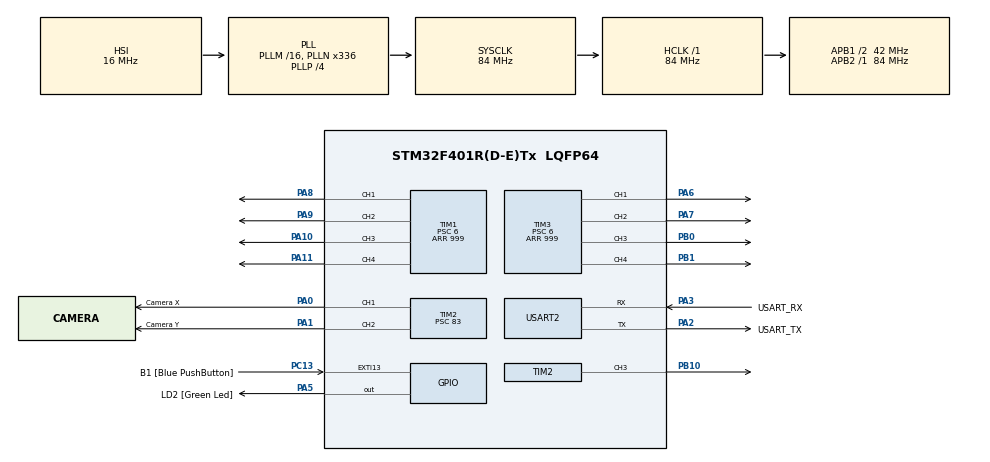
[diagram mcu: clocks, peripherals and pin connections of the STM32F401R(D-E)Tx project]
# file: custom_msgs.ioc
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Dma.Request0=USART2_RX
Dma.Request1=USART2_TX
Dma.USART2_RX.0.Direction=DMA_PERIPH_TO_MEMORY
Dma.USART2_RX.0.FIFOMode=DMA_FIFOMODE_DISABLE
Dma.USART2_RX.0.Instance=DMA1_Stream5
Dma.USART2_RX.0.MemDataAlignment=DMA_MDATAALIGN_BYTE
Dma.USART2_RX.0.MemInc=DMA_MINC_ENABLE
Dma.USART2_RX.0.Mode=DMA_CIRCULAR
Dma.USART2_RX.0.PeriphDataAlignment=DMA_PDATAALIGN_BYTE
Dma.USART2_RX.0.PeriphInc=DMA_PINC_DISABLE
Dma.USART2_RX.0.Priority=DMA_PRIORITY_VERY_HIGH
Dma.USART2_TX.1.Direction=DMA_MEMORY_TO_PERIPH
Dma.USART2_TX.1.FIFOMode=DMA_FIFOMODE_DISABLE
Dma.USART2_TX.1.Instance=DMA1_Stream6
Dma.USART2_TX.1.MemDataAlignment=DMA_MDATAALIGN_BYTE
Dma.USART2_TX.1.MemInc=DMA_MINC_ENABLE
Dma.USART2_TX.1.Mode=DMA_NORMAL
Dma.USART2_TX.1.PeriphDataAlignment=DMA_PDATAALIGN_BYTE
Dma.USART2_TX.1.PeriphInc=DMA_PINC_DISABLE
Dma.USART2_TX.1.Priority=DMA_PRIORITY_VERY_HIGH
FREERTOS.Tasks01=defaultTask,24,3000,StartDefaultTask,Default,NULL,Dynamic,NULL,NULL
Mcu.Family=STM32F4
Mcu.Name=STM32F401R(D-E)Tx
Mcu.Package=LQFP64
NVIC.DMA1_Stream5_IRQn=true\:5\:0\:false\:false\:true\:true\:false\:true\:true
NVIC.DMA1_Stream6_IRQn=true\:5\:0\:false\:false\:true\:true\:false\:true\:true
NVIC.PriorityGroup=NVIC_PRIORITYGROUP_4
NVIC.USART2_IRQn=true\:5\:0\:false\:false\:true\:true\:true\:true\:true
PA0-WKUP.GPIO_Label=Camera X
PA0-WKUP.Signal=S_TIM2_CH1_ETR
PA1.GPIO_Label=Camera Y
PA1.Signal=S_TIM2_CH2
PA10.Signal=S_TIM1_CH3
PA11.Signal=S_TIM1_CH4
PA13.GPIO_Label=TMS
PA13.Mode=Serial_Wire
PA13.Signal=SYS_JTMS-SWDIO
PA14.GPIO_Label=TCK
PA14.Mode=Serial_Wire
PA14.Signal=SYS_JTCK-SWCLK
PA2.GPIO_Label=USART_TX
PA2.GPIO_Mode=GPIO_MODE_AF_PP
PA2.GPIO_PuPd=GPIO_NOPULL
PA2.GPIO_Speed=GPIO_SPEED_FREQ_LOW
PA2.Mode=Asynchronous
PA2.Signal=USART2_TX
PA3.GPIO_Label=USART_RX
PA3.GPIO_Mode=GPIO_MODE_AF_PP
PA3.GPIO_PuPd=GPIO_NOPULL
PA3.GPIO_Speed=GPIO_SPEED_FREQ_LOW
PA3.Mode=Asynchronous
PA3.Signal=USART2_RX
PA5.GPIO_Label=LD2 [Green Led]
PA5.GPIO_Mode=GPIO_MODE_OUTPUT_PP
PA5.GPIO_PuPd=GPIO_NOPULL
PA5.GPIO_Speed=GPIO_SPEED_FREQ_LOW
PA5.Signal=GPIO_Output
PA6.Signal=S_TIM3_CH1
PA7.Signal=S_TIM3_CH2
PA8.Signal=S_TIM1_CH1
PA9.Signal=S_TIM1_CH2
PB0.Signal=S_TIM3_CH3
PB1.Signal=S_TIM3_CH4
PB10.Signal=S_TIM2_CH3
PB3.GPIO_Label=SWO
PB3.Signal=SYS_JTDO-SWO
PC13-ANTI_TAMP.GPIO_Label=B1 [Blue PushButton]
PC13-ANTI_TAMP.GPIO_ModeDefaultEXTI=GPIO_MODE_IT_FALLING
PC13-ANTI_TAMP.GPIO_PuPd=GPIO_NOPULL
PC13-ANTI_TAMP.Signal=GPXTI13
PC14-OSC32_IN.Mode=LSE-External-Oscillator
PC14-OSC32_IN.Signal=RCC_OSC32_IN
PC15-OSC32_OUT.Mode=LSE-External-Oscillator
PC15-OSC32_OUT.Signal=RCC_OSC32_OUT
PH0\ -\ OSC_IN.Mode=HSE-External-Oscillator
PH0\ -\ OSC_IN.Signal=RCC_OSC_IN
PH1\ -\ OSC_OUT.Mode=HSE-External-Oscillator
PH1\ -\ OSC_OUT.Signal=RCC_OSC_OUT
ProjectManager.HeapSize=0x200
ProjectManager.StackSize=0x400
ProjectManager.TargetToolchain=STM32CubeIDE
RCC.48MHZClocksFreq_Value=48000000
RCC.AHBFreq_Value=84000000
RCC.APB1CLKDivider=RCC_HCLK_DIV2
RCC.APB1Freq_Value=42000000
RCC.APB1TimFreq_Value=84000000
RCC.APB2Freq_Value=84000000
RCC.APB2TimFreq_Value=84000000
RCC.CortexFreq_Value=84000000
RCC.HCLKFreq_Value=84000000
RCC.HSE_VALUE=8000000
RCC.HSI_VALUE=16000000
RCC.PLLN=336
RCC.PLLP=RCC_PLLP_DIV4
RCC.PLLQ=7
RCC.SYSCLKFreq_VALUE=84000000
RCC.SYSCLKSource=RCC_SYSCLKSOURCE_PLLCLK
RCC.VCOOutputFreq_Value=336000000
SH.S_TIM1_CH1.0=TIM1_CH1,PWM Generation1 CH1
SH.S_TIM1_CH2.0=TIM1_CH2,PWM Generation2 CH2
SH.S_TIM1_CH3.0=TIM1_CH3,PWM Generation3 CH3
SH.S_TIM1_CH4.0=TIM1_CH4,PWM Generation4 CH4
SH.S_TIM2_CH1_ETR.0=TIM2_CH1,PWM Generation1 CH1
SH.S_TIM2_CH2.0=TIM2_CH2,PWM Generation2 CH2
SH.S_TIM2_CH3.0=TIM2_CH3,PWM Generation3 CH3
SH.S_TIM3_CH1.0=TIM3_CH1,PWM Generation1 CH1
SH.S_TIM3_CH2.0=TIM3_CH2,PWM Generation2 CH2
SH.S_TIM3_CH3.0=TIM3_CH3,PWM Generation3 CH3
SH.S_TIM3_CH4.0=TIM3_CH4,PWM Generation4 CH4
TIM1.Channel-PWM\ Generation1\ CH1=TIM_CHANNEL_1
TIM1.Channel-PWM\ Generation2\ CH2=TIM_CHANNEL_2
TIM1.Channel-PWM\ Generation3\ CH3=TIM_CHANNEL_3
TIM1.Channel-PWM\ Generation4\ CH4=TIM_CHANNEL_4
TIM1.Period=999
TIM1.Prescaler=6
TIM2.Channel-PWM\ Generation1\ CH1=TIM_CHANNEL_1
TIM2.Channel-PWM\ Generation2\ CH2=TIM_CHANNEL_2
TIM2.Channel-PWM\ Generation3\ CH3=TIM_CHANNEL_3
TIM2.Period=19999
TIM2.Prescaler=83
TIM3.Channel-PWM\ Generation1\ CH1=TIM_CHANNEL_1
TIM3.Channel-PWM\ Generation2\ CH2=TIM_CHANNEL_2
TIM3.Channel-PWM\ Generation3\ CH3=TIM_CHANNEL_3
TIM3.Channel-PWM\ Generation4\ CH4=TIM_CHANNEL_4
TIM3.Period=999
TIM3.Prescaler=6
USART2.VirtualMode=VM_ASYNC
VP_FREERTOS_VS_CMSIS_V2.Mode=CMSIS_V2
VP_TIM1_VS_ClockSourceINT.Mode=Internal
VP_TIM2_VS_ClockSourceINT.Mode=Internal
VP_TIM3_VS_ClockSourceINT.Mode=Internal
board=NUCLEO-F401RE

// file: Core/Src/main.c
/* USER CODE BEGIN Header */
/**
  ******************************************************************************
  * @file           : main.c
  * @brief          : Main program body
  ******************************************************************************
  * @attention
  *
  * Copyright (c) 2024  * in the root directory of this software component.
  *   * in the root di  * in the root directory of this software component.

  *
  * All rights reserved.
  *
  * This software is licensed under terms that can be found in the LICENSE file
  * in the root directory of this software component.
  * If no LICENSE file comes with this software, it is provided AS-IS.
  *
  ******************************************************************************
  */
/* USER CODE END Header */
#include "main.h"
#include "cmsis_os.h"

/* USER CODE BEGIN Includes */
#include <rcl/rcl.h>
#include <rcl/error_handling.h>
#include <rclc/rclc.h>
#include <rclc/executor.h>
#include <uxr/client/transport.h>
#include <rmw_microxrcedds_c/config.h>
#include <rmw_microros/rmw_microros.h>
#include <rover_msgs/msg/controller_msg.h>
#include <rover_msgs/msg/encoder_msg.h>
#include <math.h>

/* USER CODE END Includes */

/* USER CODE BEGIN PTD */

typedef struct joystick {
    float x;
    float y;
    int16_t throttle;
    int16_t cameray;  // İleri/Geri ekseni 1 yada -1 yada 0
    int8_t light;
    int8_t camerax;  // Sağ/Sol ekseni 1 yada -1 yada 0
    int16_t imu_speed;// -1000 ile 1000 arasında rover hızı
    uint8_t gear;
} joystick;
joystick rcjoystick = {0, 0, 0, 0, 0, 0, 0, 3};

typedef enum {
    GROUND_DEFAULT,
    GROUND_SLIPPERY,
    GROUND_ROUGH
} GroundType;

GroundType currentGround = GROUND_DEFAULT;

typedef struct {
    int16_t targetSpeed;
    int16_t currentSpeed;
    int16_t previousErrorSpeed;
    int integralSpeed;

	float KP;
	float KI;
	float KD;
	float integralLimit;
} Wheel;

Wheel leftFrontWheel = {0, 0, 0, 0, 0.67f, 0.04f, 0.01f, 1000};//1
Wheel rightFrontWheel = {0, 0, 0, 0, 0.60f, 0.04f, 0.01f, 1000};//2
Wheel leftBackWheel = {0, 0, 0, 0, 0.65f, 0.04f, 0.01f, 1000};//3
Wheel rightBackWheel = {0, 0, 0, 0, 0.65f, 0.04f, 0.01f, 1000};//4

typedef struct {
    int16_t targetDirection;
    int16_t currentDirection;
    int16_t previousErrorDirection;
    int integralDirection;
} Direction;

Direction roverDirection = {90, 0, 0, 0};
/* USER CODE END PTD */

/* USER CODE BEGIN PD */
#define DEGREE_MIN 400
#define DEGREE_MAX 2600
#define DEGREE_STEP 10

#define Direction_KP 0.4f
#define Direction_KI 0.1f
#define Direction_KD 0.03f
#define MAX_SPEED_PWM  1000
#define MIN_SPEED_PWM  -1000

// Motor hızı sınırlayıcı
#define MAX_SPEED_D  1000
#define MAX_SPEED_S  3000
#define MIN_SPEED_D  -1000
#define MAX_DIRECTION_SPEED  300
#define MIN_DIRECTION_SPEED -300

/* USER CODE END PD */

TIM_HandleTypeDef htim1;
TIM_HandleTypeDef htim2;
TIM_HandleTypeDef htim3;

UART_HandleTypeDef huart2;
DMA_HandleTypeDef hdma_usart2_rx;
DMA_HandleTypeDef hdma_usart2_tx;

/* Definitions for defaultTask */
osThreadId_t defaultTaskHandle;
const osThreadAttr_t defaultTask_attributes = {
  .name = "defaultTask",
  .stack_size = 3000 * 4,
  .priority = (osPriority_t) osPriorityNormal,
};

void SystemClock_Config(void);
static void MX_GPIO_Init(void);
static void MX_DMA_Init(void);
static void MX_USART2_UART_Init(void);
static void MX_TIM1_Init(void);
static void MX_TIM2_Init(void);
static void MX_TIM3_Init(void);
void StartDefaultTask(void *argument);

int main(void)
{

  /* MCU Configuration--------------------------------------------------------*/

  /* Reset of all peripherals, Initializes the Flash interface and the Systick. */
  HAL_Init();

  /* Configure the system clock */
  SystemClock_Config();

  /* Initialize all configured peripherals */
  MX_GPIO_Init();
  MX_DMA_Init();
  MX_USART2_UART_Init();
  MX_TIM1_Init();
  MX_TIM2_Init();
  MX_TIM3_Init();
  /* USER CODE BEGIN 2 */
  HAL_TIM_PWM_Start(&htim1, TIM_CHANNEL_1);
  HAL_TIM_PWM_Start(&htim1, TIM_CHANNEL_2);
  HAL_TIM_PWM_Start(&htim1, TIM_CHANNEL_3);
  HAL_TIM_PWM_Start(&htim1, TIM_CHANNEL_4);
  HAL_TIM_PWM_Start(&htim3, TIM_CHANNEL_1);
  HAL_TIM_PWM_Start(&htim3, TIM_CHANNEL_2);
  HAL_TIM_PWM_Start(&htim3, TIM_CHANNEL_3);
  HAL_TIM_PWM_Start(&htim3, TIM_CHANNEL_4);
  /* USER CODE END 2 */

  /* Init scheduler */
  osKernelInitialize();

  /* Create the thread(s) */
  /* creation of defaultTask */
  defaultTaskHandle = osThreadNew(StartDefaultTask, NULL, &defaultTask_attributes);

  /* Start scheduler */
  osKernelStart();

  /* We should never get here as control is now taken by the scheduler */

  /* Infinite loop */
  while (1)
  {

  }
}

void SystemClock_Config(void)
{
  RCC_OscInitTypeDef RCC_OscInitStruct = {0};
  RCC_ClkInitTypeDef RCC_ClkInitStruct = {0};

  /** Configure the main internal regulator output voltage
  */
  __HAL_RCC_PWR_CLK_ENABLE();
  __HAL_PWR_VOLTAGESCALING_CONFIG(PWR_REGULATOR_VOLTAGE_SCALE2);

  /** Initializes the RCC Oscillators according to the specified parameters
  * in the RCC_OscInitTypeDef structure.
  */
  RCC_OscInitStruct.OscillatorType = RCC_OSCILLATORTYPE_HSI;
  RCC_OscInitStruct.HSIState = RCC_HSI_ON;
  RCC_OscInitStruct.HSICalibrationValue = RCC_HSICALIBRATION_DEFAULT;
  RCC_OscInitStruct.PLL.PLLState = RCC_PLL_ON;
  RCC_OscInitStruct.PLL.PLLSource = RCC_PLLSOURCE_HSI;
  RCC_OscInitStruct.PLL.PLLM = 16;
  RCC_OscInitStruct.PLL.PLLN = 336;
  RCC_OscInitStruct.PLL.PLLP = RCC_PLLP_DIV4;
  RCC_OscInitStruct.PLL.PLLQ = 7;
  if (HAL_RCC_OscConfig(&RCC_OscInitStruct) != HAL_OK)
  {
    Error_Handler();
  }

  /** Initializes the CPU, AHB and APB buses clocks
  */
  RCC_ClkInitStruct.ClockType = RCC_CLOCKTYPE_HCLK|RCC_CLOCKTYPE_SYSCLK
                              |RCC_CLOCKTYPE_PCLK1|RCC_CLOCKTYPE_PCLK2;
  RCC_ClkInitStruct.SYSCLKSource = RCC_SYSCLKSOURCE_PLLCLK;
  RCC_ClkInitStruct.AHBCLKDivider = RCC_SYSCLK_DIV1;
  RCC_ClkInitStruct.APB1CLKDivider = RCC_HCLK_DIV2;
  RCC_ClkInitStruct.APB2CLKDivider = RCC_HCLK_DIV1;

  if (HAL_RCC_ClockConfig(&RCC_ClkInitStruct, FLASH_LATENCY_2) != HAL_OK)
  {
    Error_Handler();
  }
}

static void MX_TIM1_Init(void)
{

  TIM_ClockConfigTypeDef sClockSourceConfig = {0};
  TIM_MasterConfigTypeDef sMasterConfig = {0};
  TIM_OC_InitTypeDef sConfigOC = {0};
  TIM_BreakDeadTimeConfigTypeDef sBreakDeadTimeConfig = {0};

  htim1.Instance = TIM1;
  htim1.Init.Prescaler = 6;
  htim1.Init.CounterMode = TIM_COUNTERMODE_UP;
  htim1.Init.Period = 999;
  htim1.Init.ClockDivision = TIM_CLOCKDIVISION_DIV1;
  htim1.Init.RepetitionCounter = 0;
  htim1.Init.AutoReloadPreload = TIM_AUTORELOAD_PRELOAD_DISABLE;
  if (HAL_TIM_Base_Init(&htim1) != HAL_OK)
  {
    Error_Handler();
  }
  sClockSourceConfig.ClockSource = TIM_CLOCKSOURCE_INTERNAL;
  if (HAL_TIM_ConfigClockSource(&htim1, &sClockSourceConfig) != HAL_OK)
  {
    Error_Handler();
  }
  if (HAL_TIM_PWM_Init(&htim1) != HAL_OK)
  {
    Error_Handler();
  }
  sMasterConfig.MasterOutputTrigger = TIM_TRGO_RESET;
  sMasterConfig.MasterSlaveMode = TIM_MASTERSLAVEMODE_DISABLE;
  if (HAL_TIMEx_MasterConfigSynchronization(&htim1, &sMasterConfig) != HAL_OK)
  {
    Error_Handler();
  }
  sConfigOC.OCMode = TIM_OCMODE_PWM1;
  sConfigOC.Pulse = 0;
  sConfigOC.OCPolarity = TIM_OCPOLARITY_HIGH;
  sConfigOC.OCNPolarity = TIM_OCNPOLARITY_HIGH;
  sConfigOC.OCFastMode = TIM_OCFAST_DISABLE;
  sConfigOC.OCIdleState = TIM_OCIDLESTATE_RESET;
  sConfigOC.OCNIdleState = TIM_OCNIDLESTATE_RESET;
  if (HAL_TIM_PWM_ConfigChannel(&htim1, &sConfigOC, TIM_CHANNEL_1) != HAL_OK)
  {
    Error_Handler();
  }
  if (HAL_TIM_PWM_ConfigChannel(&htim1, &sConfigOC, TIM_CHANNEL_2) != HAL_OK)
  {
    Error_Handler();
  }
  if (HAL_TIM_PWM_ConfigChannel(&htim1, &sConfigOC, TIM_CHANNEL_3) != HAL_OK)
  {
    Error_Handler();
  }
  if (HAL_TIM_PWM_ConfigChannel(&htim1, &sConfigOC, TIM_CHANNEL_4) != HAL_OK)
  {
    Error_Handler();
  }
  sBreakDeadTimeConfig.OffStateRunMode = TIM_OSSR_DISABLE;
  sBreakDeadTimeConfig.OffStateIDLEMode = TIM_OSSI_DISABLE;
  sBreakDeadTimeConfig.LockLevel = TIM_LOCKLEVEL_OFF;
  sBreakDeadTimeConfig.DeadTime = 0;
  sBreakDeadTimeConfig.BreakState = TIM_BREAK_DISABLE;
  sBreakDeadTimeConfig.BreakPolarity = TIM_BREAKPOLARITY_HIGH;
  sBreakDeadTimeConfig.AutomaticOutput = TIM_AUTOMATICOUTPUT_DISABLE;
  if (HAL_TIMEx_ConfigBreakDeadTime(&htim1, &sBreakDeadTimeConfig) != HAL_OK)
  {
    Error_Handler();
  }
  /* USER CODE BEGIN TIM1_Init 2 */
  HAL_TIM_PWM_Start(&htim1, TIM_CHANNEL_1);
  HAL_TIM_PWM_Start(&htim1, TIM_CHANNEL_2);
  HAL_TIM_PWM_Start(&htim1, TIM_CHANNEL_3);
  HAL_TIM_PWM_Start(&htim1, TIM_CHANNEL_4);
  /* USER CODE END TIM1_Init 2 */
  HAL_TIM_MspPostInit(&htim1);

}

static void MX_TIM2_Init(void)
{

  TIM_ClockConfigTypeDef sClockSourceConfig = {0};
  TIM_MasterConfigTypeDef sMasterConfig = {0};
  TIM_OC_InitTypeDef sConfigOC = {0};

  htim2.Instance = TIM2;
  htim2.Init.Prescaler = 83;
  htim2.Init.CounterMode = TIM_COUNTERMODE_UP;
  htim2.Init.Period = 19999;
  htim2.Init.ClockDivision = TIM_CLOCKDIVISION_DIV1;
  htim2.Init.AutoReloadPreload = TIM_AUTORELOAD_PRELOAD_DISABLE;
  if (HAL_TIM_Base_Init(&htim2) != HAL_OK)
  {
    Error_Handler();
  }
  sClockSourceConfig.ClockSource = TIM_CLOCKSOURCE_INTERNAL;
  if (HAL_TIM_ConfigClockSource(&htim2, &sClockSourceConfig) != HAL_OK)
  {
    Error_Handler();
  }
  if (HAL_TIM_PWM_Init(&htim2) != HAL_OK)
  {
    Error_Handler();
  }
  sMasterConfig.MasterOutputTrigger = TIM_TRGO_RESET;
  sMasterConfig.MasterSlaveMode = TIM_MASTERSLAVEMODE_DISABLE;
  if (HAL_TIMEx_MasterConfigSynchronization(&htim2, &sMasterConfig) != HAL_OK)
  {
    Error_Handler();
  }
  sConfigOC.OCMode = TIM_OCMODE_PWM1;
  sConfigOC.Pulse = 0;
  sConfigOC.OCPolarity = TIM_OCPOLARITY_HIGH;
  sConfigOC.OCFastMode = TIM_OCFAST_DISABLE;
  if (HAL_TIM_PWM_ConfigChannel(&htim2, &sConfigOC, TIM_CHANNEL_1) != HAL_OK)
  {
    Error_Handler();
  }
  if (HAL_TIM_PWM_ConfigChannel(&htim2, &sConfigOC, TIM_CHANNEL_2) != HAL_OK)
  {
    Error_Handler();
  }
  if (HAL_TIM_PWM_ConfigChannel(&htim2, &sConfigOC, TIM_CHANNEL_3) != HAL_OK)
  {
    Error_Handler();
  }
  /* USER CODE BEGIN TIM2_Init 2 */
  HAL_TIM_PWM_Start(&htim2, TIM_CHANNEL_1);
  HAL_TIM_PWM_Start(&htim2, TIM_CHANNEL_2);

  /* USER CODE END TIM2_Init 2 */
  HAL_TIM_MspPostInit(&htim2);

}

static void MX_TIM3_Init(void)
{

  TIM_ClockConfigTypeDef sClockSourceConfig = {0};
  TIM_MasterConfigTypeDef sMasterConfig = {0};
  TIM_OC_InitTypeDef sConfigOC = {0};

  htim3.Instance = TIM3;
  htim3.Init.Prescaler = 6;
  htim3.Init.CounterMode = TIM_COUNTERMODE_UP;
  htim3.Init.Period = 999;
  htim3.Init.ClockDivision = TIM_CLOCKDIVISION_DIV1;
  htim3.Init.AutoReloadPreload = TIM_AUTORELOAD_PRELOAD_DISABLE;
  if (HAL_TIM_Base_Init(&htim3) != HAL_OK)
  {
    Error_Handler();
  }
  sClockSourceConfig.ClockSource = TIM_CLOCKSOURCE_INTERNAL;
  if (HAL_TIM_ConfigClockSource(&htim3, &sClockSourceConfig) != HAL_OK)
  {
    Error_Handler();
  }
  if (HAL_TIM_PWM_Init(&htim3) != HAL_OK)
  {
    Error_Handler();
  }
  sMasterConfig.MasterOutputTrigger = TIM_TRGO_RESET;
  sMasterConfig.MasterSlaveMode = TIM_MASTERSLAVEMODE_DISABLE;
  if (HAL_TIMEx_MasterConfigSynchronization(&htim3, &sMasterConfig) != HAL_OK)
  {
    Error_Handler();
  }
  sConfigOC.OCMode = TIM_OCMODE_PWM1;
  sConfigOC.Pulse = 0;
  sConfigOC.OCPolarity = TIM_OCPOLARITY_HIGH;
  sConfigOC.OCFastMode = TIM_OCFAST_DISABLE;
  if (HAL_TIM_PWM_ConfigChannel(&htim3, &sConfigOC, TIM_CHANNEL_1) != HAL_OK)
  {
    Error_Handler();
  }
  if (HAL_TIM_PWM_ConfigChannel(&htim3, &sConfigOC, TIM_CHANNEL_2) != HAL_OK)
  {
    Error_Handler();
  }
  if (HAL_TIM_PWM_ConfigChannel(&htim3, &sConfigOC, TIM_CHANNEL_3) != HAL_OK)
  {
    Error_Handler();
  }
  if (HAL_TIM_PWM_ConfigChannel(&htim3, &sConfigOC, TIM_CHANNEL_4) != HAL_OK)
  {
    Error_Handler();
  }
  HAL_TIM_MspPostInit(&htim3);

}

static void MX_USART2_UART_Init(void)
{

  huart2.Instance = USART2;
  huart2.Init.BaudRate = 115200;
  huart2.Init.WordLength = UART_WORDLENGTH_8B;
  huart2.Init.StopBits = UART_STOPBITS_1;
  huart2.Init.Parity = UART_PARITY_NONE;
  huart2.Init.Mode = UART_MODE_TX_RX;
  huart2.Init.HwFlowCtl = UART_HWCONTROL_NONE;
  huart2.Init.OverSampling = UART_OVERSAMPLING_16;
  if (HAL_UART_Init(&huart2) != HAL_OK)
  {
    Error_Handler();
  }

}

static void MX_DMA_Init(void)
{

  /* DMA controller clock enable */
  __HAL_RCC_DMA1_CLK_ENABLE();

  /* DMA interrupt init */
  /* DMA1_Stream5_IRQn interrupt configuration */
  HAL_NVIC_SetPriority(DMA1_Stream5_IRQn, 5, 0);
  HAL_NVIC_EnableIRQ(DMA1_Stream5_IRQn);
  /* DMA1_Stream6_IRQn interrupt configuration */
  HAL_NVIC_SetPriority(DMA1_Stream6_IRQn, 5, 0);
  HAL_NVIC_EnableIRQ(DMA1_Stream6_IRQn);

}

static void MX_GPIO_Init(void)
{
  GPIO_InitTypeDef GPIO_InitStruct = {0};

  /* GPIO Ports Clock Enable */
  __HAL_RCC_GPIOC_CLK_ENABLE();
  __HAL_RCC_GPIOH_CLK_ENABLE();
  __HAL_RCC_GPIOA_CLK_ENABLE();
  __HAL_RCC_GPIOB_CLK_ENABLE();

  /*Configure GPIO pin Output Level */
  HAL_GPIO_WritePin(LD2_GPIO_Port, LD2_Pin, GPIO_PIN_RESET);

  /*Configure GPIO pin : B1_Pin */
  GPIO_InitStruct.Pin = B1_Pin;
  GPIO_InitStruct.Mode = GPIO_MODE_IT_FALLING;
  GPIO_InitStruct.Pull = GPIO_NOPULL;
  HAL_GPIO_Init(B1_GPIO_Port, &GPIO_InitStruct);

  /*Configure GPIO pin : LD2_Pin */
  GPIO_InitStruct.Pin = LD2_Pin;
  GPIO_InitStruct.Mode = GPIO_MODE_OUTPUT_PP;
  GPIO_InitStruct.Pull = GPIO_NOPULL;
  GPIO_InitStruct.Speed = GPIO_SPEED_FREQ_LOW;
  HAL_GPIO_Init(LD2_GPIO_Port, &GPIO_InitStruct);

}

/* USER CODE BEGIN 4 */
bool cubemx_transport_open(struct uxrCustomTransport * transport);
bool cubemx_transport_close(struct uxrCustomTransport * transport);
size_t cubemx_transport_write(struct uxrCustomTransport* transport, const uint8_t * buf, size_t len, uint8_t * err);
size_t cubemx_transport_read(struct uxrCustomTransport* transport, uint8_t* buf, size_t len, int timeout, uint8_t* err);

void * microros_allocate(size_t size, void * state);
void microros_deallocate(void * pointer, void * state);
void * microros_reallocate(void * pointer, size_t size, void * state);
void * microros_zero_allocate(size_t number_of_elements, size_t size_of_element, void * state);

//<<<<<<<<<<<<<<<<<<<<<<<<<<<<<<<<<<<<<<<<<<<<MESAJ ALMA>>>>>>>>>>>>>>>>>>>>>>>>>>>>>>>>>>>>>>>>>>>>>>>>>>>>>>>>>>>>>>>>
//----------------------------------------------------------------------------------------------------------------------

rcl_node_t nodesub;
rcl_subscription_t subscriber;
rcl_subscription_t subscriber2;
int16_t rotation_speedL = 0;/*300 ile -300 arasında olsun*/
int16_t rotation_speedR = 0;/*300 ile -300 arasında olsun*/
int dt;
volatile uint32_t last_heartbeat_time = 0,heartbeat_time = 0,last_message_time;
bool connection_lost = false;

//<<<<<<<<<<<<<<<<<<<<<<<<<<<<<<<<<<<<<<<<<<<< CAMERA KONTROL >>>>>>>>>>>>>>>>>>>>>>>>>>>>>>>>>>>>>>>>>>>>>>>>>>>>>>>>>>>
//--------------------------------------------------------------------------------------------------------------------
void SetServoPosition(TIM_HandleTypeDef* htim, uint32_t channel, uint16_t* position, uint8_t step, uint8_t servoDirection, uint16_t camera) {
    if (servoDirection > 0) {
        *position = (*position + step <= DEGREE_MAX) ? *position + step : DEGREE_MAX;
    }
    	else if (servoDirection < 0) {
        *position = (*position - step >= DEGREE_MIN) ? *position - step : DEGREE_MIN;
    }
    	else if (servoDirection == 0) {
    	*position = (camera > DEGREE_MAX) ? DEGREE_MAX : (camera < DEGREE_MIN) ? DEGREE_MIN : camera;
    }

    __HAL_TIM_SET_COMPARE(htim, channel, *position);
}

void KameraKontrol()
{
    static uint16_t degreey = 2200;
    static uint16_t degreex = 1500;

    degreex = (degreex > DEGREE_MAX) ? DEGREE_MAX : (degreex < DEGREE_MIN) ? DEGREE_MIN : degreex;
    degreey = (degreey > DEGREE_MAX) ? DEGREE_MAX : (degreey < DEGREE_MIN) ? DEGREE_MIN : degreey;

    		SetServoPosition(&htim2, TIM_CHANNEL_2, &degreey, DEGREE_STEP, 0, rcjoystick.cameray);

    switch (rcjoystick.camerax)
    {
    	case 0: // Dur
    		__HAL_TIM_SET_COMPARE(&htim2, TIM_CHANNEL_1, degreex);
    		HAL_GPIO_WritePin(GPIOA, GPIO_PIN_5, 1);
    		break;

        case 1: // Sağa
            SetServoPosition(&htim2, TIM_CHANNEL_1, &degreex, DEGREE_STEP, 1, rcjoystick.camerax);
            break;

        case -1: // Sola
            SetServoPosition(&htim2, TIM_CHANNEL_1, &degreex, DEGREE_STEP, -1, rcjoystick.camerax);
            break;

        default:
            // Geçersiz joystick z değeri
            break;
    }
}

//<<<<<<<<<<<<<<<<<<<<<<<<<<<<<<<<<<<<<<<<<<<< MOTOR KONTROL >>>>>>>>>>>>>>>>>>>>>>>>>>>>>>>>>>>>>>>>>>>>>>>>>>>>>>>>>>>
//--------------------------------------------------------------------------------------------------------------------
/* --- Hız-PWM Uyumluluğu --- */
int16_t speedToPWM(int16_t speed, int16_t max_speed) {
    return speed;
}

/* --- PWM Ayarı --- */
void setPWM(TIM_HandleTypeDef *htim1, TIM_HandleTypeDef *htim3, uint32_t channel, int16_t pwmvalue) {

	if (pwmvalue >= 0 && pwmvalue <= 1000) {
        __HAL_TIM_SET_COMPARE(htim1, channel, fabs(pwmvalue));
        __HAL_TIM_SET_COMPARE(htim3, channel, 0);
    }

    else if(pwmvalue >= -1000 && pwmvalue < 0 ) {
        __HAL_TIM_SET_COMPARE(htim1, channel, 0);
        __HAL_TIM_SET_COMPARE(htim3, channel, fabs(pwmvalue));
    }

    else if(pwmvalue > 1000 ) {
        __HAL_TIM_SET_COMPARE(htim1, channel, 1000);
        __HAL_TIM_SET_COMPARE(htim3, channel, 0);
    }

    else if(pwmvalue < -1000 ) {
        __HAL_TIM_SET_COMPARE(htim1, channel, 0);
        __HAL_TIM_SET_COMPARE(htim3, channel, 1000);
    }

    else {

    }
}

/* --- PID Hesaplama --- */
float calculatePID(Wheel *wheel, int max_pwm, int min_pwm, int dt) {

	float error = wheel->targetSpeed-wheel->currentSpeed;
    wheel->integralSpeed += error / dt;
    if (wheel->integralSpeed > wheel->integralLimit) wheel->integralSpeed = max_pwm / wheel->KP;  // Anti-windup
    if (wheel->integralSpeed < -wheel->integralLimit) wheel->integralSpeed = min_pwm / wheel->KP;  // Anti-windup

    float derivative = (error - wheel->previousErrorSpeed) * dt;
    wheel->previousErrorSpeed = error;

    float output = wheel->KP * error + wheel->KI * wheel->integralSpeed + wheel->KD * derivative;

    if (output > max_pwm) output = max_pwm;
    if (output < min_pwm) output = min_pwm;

    return output;
}

/* --- Hız Sınırlandırma --- */
int16_t limitSpeedToPWM(int16_t speed, GroundType groundType, int16_t max_speed) {

	if(rcjoystick.light==1){
		speed=speed*(MAX_SPEED_S/1000);
		if (speed > MAX_SPEED_S) {speed = MAX_SPEED_S;}/*rgb yak*/
	}/*rgb yak*/

	else{
		if (speed > max_speed) {speed = max_speed;}/*rgb yak*/
	}

	if (speed < MIN_SPEED_D) {speed = MIN_SPEED_D;}/*rgb yak*/

	if (speed < MIN_SPEED_D) {speed = MIN_SPEED_D;}/*rgb yak*/

	switch (groundType) {
        case GROUND_SLIPPERY:
            return speedToPWM(speed, max_speed)*0.5f; // Kaygan zemin: %50 hız
        case GROUND_ROUGH:
            return speedToPWM(speed, max_speed)*0.8f; // Engebeli zemin: %80 hız
        default:
            return speedToPWM(speed, max_speed);        // Normal zemin: Tam hız
		}
}

uint64_t now;
/* --- Tekerlek Kontrolü --- */
void controlWheel(TIM_HandleTypeDef *htim1, TIM_HandleTypeDef *htim3, uint32_t channel, Wheel *wheel) {

	now = HAL_GetTick();
	dt = now - last_heartbeat_time;

	int16_t pwmValue = calculatePID(wheel, MAX_SPEED_PWM, MIN_SPEED_PWM, dt);
	last_heartbeat_time = HAL_GetTick();
	setPWM(htim1, htim3, channel, pwmValue);

}

/* --- Yon Kontrolü --- */
void controlDirection(int16_t Y, int16_t X, Direction *direction, int16_t *rotation_speedL, int16_t *rotation_speedR, uint8_t Gear){

	/*direction->targetDirection = atan2(Y,X) * (180 / M_PI) + 180;

    int16_t error = 	direction->targetDirection - direction->currentDirection;
    while (error > 180) error -= 360;
    while (error < -180) error += 360;

    direction->integralDirection += error;
    int16_t derivative = (error - direction->previousErrorDirection);
    direction->previousErrorDirection = error;

    int16_t output = Direction_KP * error + Direction_KI * direction->integralDirection + Direction_KD * derivative;*/

    int16_t output = X;
    if (output > MAX_DIRECTION_SPEED) output = MAX_DIRECTION_SPEED;
    if (output < MIN_DIRECTION_SPEED) output = MIN_DIRECTION_SPEED;

		*rotation_speedL=-output;
		*rotation_speedR=output;

}

/* --- Rover Kontrol Fonksiyonu --- */
void controlRover(TIM_HandleTypeDef *htim1,TIM_HandleTypeDef *htim3 , int16_t rotation_speedL, int16_t rotation_speedR, uint16_t throttle) {

	    leftFrontWheel.targetSpeed  = (limitSpeedToPWM(throttle+rotation_speedL , currentGround, MAX_SPEED_D));
	    leftBackWheel.targetSpeed   = (limitSpeedToPWM(throttle+rotation_speedL , currentGround, MAX_SPEED_D));
	    rightFrontWheel.targetSpeed = (limitSpeedToPWM(throttle+rotation_speedR , currentGround, MAX_SPEED_D));
	    rightBackWheel.targetSpeed  = (limitSpeedToPWM(throttle+rotation_speedR , currentGround, MAX_SPEED_D));

	    controlWheel(htim1, htim3, TIM_CHANNEL_1, &leftFrontWheel);
	    controlWheel(htim1, htim3, TIM_CHANNEL_2, &rightFrontWheel);
	    controlWheel(htim1, htim3, TIM_CHANNEL_3, &leftBackWheel);
	    controlWheel(htim1, htim3, TIM_CHANNEL_4, &rightBackWheel);

}

void subscription_callback_encoder(const void * msgin)
{
	const rover_msgs__msg__EncoderMsg * incoming_msg = (const rover_msgs__msg__EncoderMsg *)msgin;

	leftFrontWheel.currentSpeed = incoming_msg->m1*2.6f ;
	rightFrontWheel.currentSpeed = incoming_msg->m2*2.6f;
	leftBackWheel.currentSpeed = incoming_msg->m3*2.6f;
	rightBackWheel.currentSpeed = incoming_msg->m4*2.6f;

}

void subscription_callback_controller(const void * msgin){

	// Cast received message to used type
	const rover_msgs__msg__ControllerMsg * incoming_msg = (const rover_msgs__msg__ControllerMsg *)msgin;
	HAL_GPIO_WritePin(GPIOA, GPIO_PIN_5, 1);
    //en son alinan mesajin kacinci saniyede alindigini tut
	last_message_time = HAL_GetTick();

	HAL_GPIO_WritePin(GPIOA, GPIO_PIN_5, 1);
	rcjoystick.x = (int)incoming_msg->x;
	rcjoystick.y = (int)incoming_msg->y;
	rcjoystick.throttle = (int)incoming_msg->throttle;
	rcjoystick.camerax = (int)incoming_msg->camerax;
	rcjoystick.cameray = (int)incoming_msg->cameray;
	rcjoystick.light = (uint8_t)incoming_msg->light;
	rcjoystick.gear = incoming_msg->gear;
	roverDirection.currentDirection = incoming_msg->yaw;

    // Rover'ı kontrol et
    controlDirection(rcjoystick.y, rcjoystick.x, &roverDirection, &rotation_speedL, &rotation_speedR, rcjoystick.gear);
    controlRover(&htim1, &htim3, rotation_speedL, rotation_speedR, rcjoystick.throttle);
    KameraKontrol();
}

/* USER CODE END 4 */

void StartDefaultTask(void *argument)
{
  /* USER CODE BEGIN 5 */
	  // micro-ROS configuration
	  rmw_uros_set_custom_transport(
	    true,
	    (void *) &huart2,
	    cubemx_transport_open,
	    cubemx_transport_close,
	    cubemx_transport_write,
	    cubemx_transport_read);

	  rcl_allocator_t freeRTOS_allocator = rcutils_get_zero_initialized_allocator();
	  freeRTOS_allocator.allocate = microros_allocate;
	  freeRTOS_allocator.deallocate = microros_deallocate;
	  freeRTOS_allocator.reallocate = microros_reallocate;
	  freeRTOS_allocator.zero_allocate =  microros_zero_allocate;

	      rover_msgs__msg__ControllerMsg submsg;
	      rover_msgs__msg__EncoderMsg encodermsg;
	      rclc_support_t support;
	      rclc_executor_t executor;
	      rcl_allocator_t allocator;

	      allocator = rcl_get_default_allocator();

	      	    // create init_options
	      rclc_support_init(&support, 0, NULL, &allocator);

	      	    // create node
	      rclc_node_init_default(&nodesub, "sub_node", "", &support);
	      rclc_executor_init(&executor, &support.context, 2, &allocator);

	      	    // create subscription
	      rclc_subscription_init_default(
	      	        &subscriber,
	      	        &nodesub,
	      	        ROSIDL_GET_MSG_TYPE_SUPPORT(rover_msgs, msg, ControllerMsg),
	      	        "joystick_cmd");

	      rclc_subscription_init_default(
	      	      	        &subscriber2,
	      	      	        &nodesub,
	      	      	        ROSIDL_GET_MSG_TYPE_SUPPORT(rover_msgs, msg, EncoderMsg),
	      	      	        "encoder");

	      rclc_executor_add_subscription(
	      	      	      &executor, &subscriber2, &encodermsg,
	      	      	      &subscription_callback_encoder, ON_NEW_DATA);

	      rclc_executor_add_subscription(
	      	      &executor, &subscriber, &submsg,
	      	      &subscription_callback_controller, ON_NEW_DATA);

	  while(1)
	  {
		  //mesaj gelip gelmedigini kontrol et
		  rclc_executor_spin_some(&executor,100);

		  //programin calisma zamani
		  heartbeat_time = HAL_GetTick();

		  //250 milisaniye boyunca mesaj alinmamissa motorlari durdur.
		  if (HAL_GetTick() - last_message_time > 250) {
		      connection_lost = true;
		  }
		  else {
		      connection_lost = false;
		  }

		  if(connection_lost == true){
		    __HAL_TIM_SET_COMPARE(&htim1,TIM_CHANNEL_1,0);
		    __HAL_TIM_SET_COMPARE(&htim1,TIM_CHANNEL_2,0);
		    __HAL_TIM_SET_COMPARE(&htim1,TIM_CHANNEL_3,0);
			__HAL_TIM_SET_COMPARE(&htim1,TIM_CHANNEL_4,0);

		    __HAL_TIM_SET_COMPARE(&htim3,TIM_CHANNEL_1,0);
		    __HAL_TIM_SET_COMPARE(&htim3,TIM_CHANNEL_2,0);
		    __HAL_TIM_SET_COMPARE(&htim3,TIM_CHANNEL_3,0);
			__HAL_TIM_SET_COMPARE(&htim3,TIM_CHANNEL_4,0);
			  HAL_GPIO_WritePin(GPIOA, GPIO_PIN_5, 0);
		  }
		  }
  /* USER CODE END 5 */
}

void Error_Handler(void)
{
  while (1)
  {
  }
}
